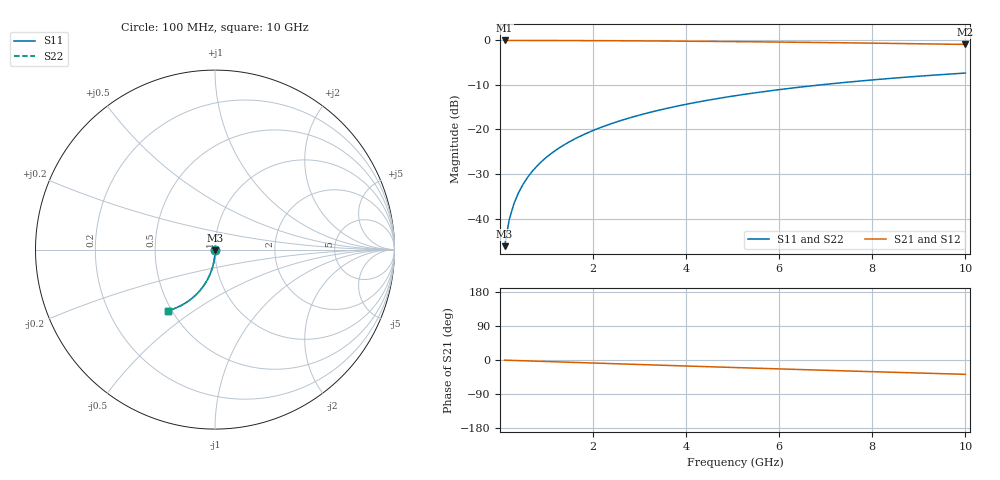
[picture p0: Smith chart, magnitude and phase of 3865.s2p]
# Hz S RI R 50.00
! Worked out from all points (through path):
!   100 points, 100 MHz to 10 GHz, reference 50 ohm
!   highest |S21| = 0.00 dB at 100 MHz (marker M1); lowest = -0.9 dB at 10 GHz (marker M2)
!   group delay of S21, straight-line fit = 10.5 ps
!   lowest |S11| = -46.2 dB at 100 MHz (marker M3), VSWR 1.01, Z = 50 - j0.489 ohm
!   |S11| at or under -10 dB: start of sweep to 6.871 GHz
!   |S22| runs from -46.2 to -7.3 dB; largest |S21 - S12| = 0
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1e8  0.000247 -0.00489  0.9997 -0.00695  0.9997 -0.00695  0.000247 -0.00489
2e8  0.000141 -0.00977  0.9996 -0.0139  0.9996 -0.0139  0.000141 -0.00977
3e8  -3.31e-05 -0.0147  0.9994 -0.0208  0.9994 -0.0208  -3.31e-05 -0.0147
4e8  -0.000275 -0.0195  0.9991 -0.0278  0.9991 -0.0278  -0.000275 -0.0195
5e8  -0.000586 -0.0244  0.9988 -0.0347  0.9988 -0.0347  -0.000586 -0.0244
6e8  -0.000964 -0.0293  0.9984 -0.0417  0.9984 -0.0417  -0.000964 -0.0293
7e8  -0.00141 -0.0342  0.9979 -0.0486  0.9979 -0.0486  -0.00141 -0.0342
8e8  -0.00192 -0.039  0.9974 -0.0555  0.9974 -0.0555  -0.00192 -0.039
9e8  -0.0025 -0.0439  0.9967 -0.0624  0.9967 -0.0624  -0.0025 -0.0439
1.1e9  -0.00387 -0.0536  0.9953 -0.0762  0.9953 -0.0762  -0.00387 -0.0536
1.4e9  -0.00642 -0.068  0.9926 -0.0969  0.9926 -0.0969  -0.00642 -0.068
1.8e9  -0.0107 -0.087  0.988 -0.1242  0.988 -0.1242  -0.0107 -0.087
2.1e9  -0.0147 -0.1011  0.9838 -0.1445  0.9838 -0.1445  -0.0147 -0.1011
2.5e9  -0.0208 -0.1196  0.9773 -0.1713  0.9773 -0.1713  -0.0208 -0.1196
2.9e9  -0.0279 -0.1376  0.9697 -0.1976  0.9697 -0.1976  -0.0279 -0.1376
3.4e9  -0.0381 -0.1595  0.9588 -0.2299  0.9588 -0.2299  -0.0381 -0.1595
4.2e9  -0.0574 -0.1926  0.9382 -0.2798  0.9382 -0.2798  -0.0574 -0.1926
5.1e9  -0.0828 -0.2267  0.9109 -0.3329  0.9109 -0.3329  -0.0828 -0.2267
5.9e9  -0.1083 -0.2539  0.8834 -0.377  0.8834 -0.377  -0.1083 -0.2539
6.7e9  -0.1361 -0.2778  0.8534 -0.418  0.8534 -0.418  -0.1361 -0.2778
8.4e9  -0.2002 -0.3171  0.7833 -0.4942  0.7833 -0.4942  -0.2002 -0.3171
1e10  -0.2636 -0.34  0.7128 -0.5524  0.7128 -0.5524  -0.2636 -0.34
